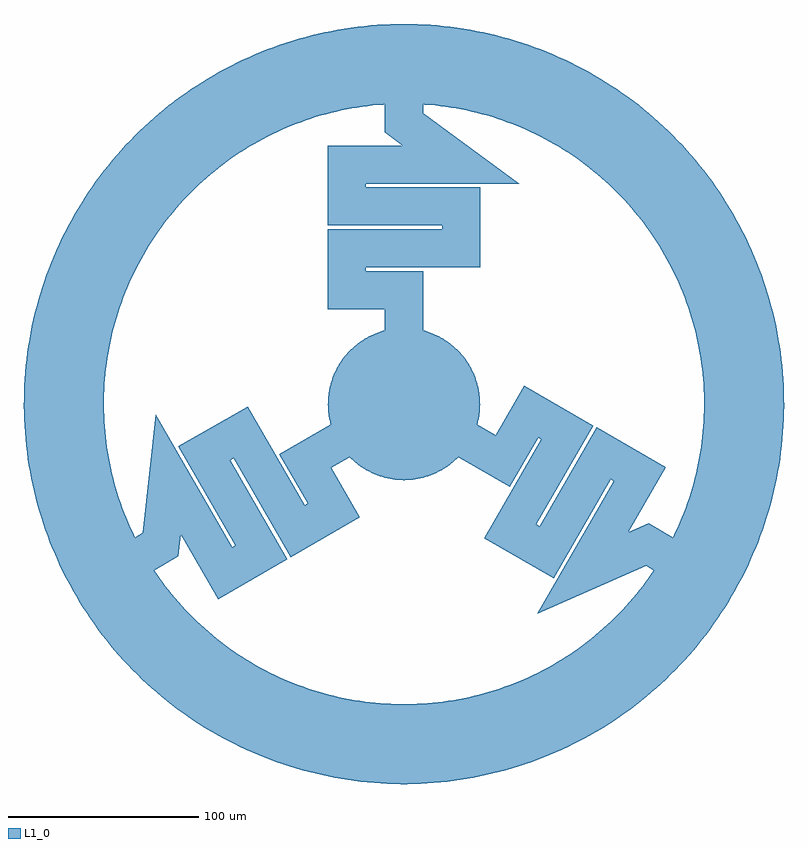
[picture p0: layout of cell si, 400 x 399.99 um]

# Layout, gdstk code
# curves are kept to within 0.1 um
import gdstk
lib = gdstk.Library(unit=1e-6, precision=1e-09)
def P(c, l, *ps):  # polygons
    for p in ps: c.add(gdstk.Polygon(p, *l))
L1_0 = (1, 0)

c_si = lib.new_cell('si')
P(c_si, L1_0, [(-0.35,-39.998),(-3.844,-39.815),(-7.997,-39.193),(-12.061,-38.138),(-15.992,-36.664),(-19.747,-34.786),(-22.712,-32.927),(-26.038,-30.365),(-28.592,-27.973),(-31.367,-24.822),(-33.416,-21.986),(-35.21,-18.981),(-37.005,-15.186),(-38.191,-11.894),(-39.227,-7.825),(-39.831,-3.67),(-39.997,0.525),(-39.798,4.019),(-39.157,8.168),(-38.085,12.227),(-36.594,16.152),(-35.042,19.289),(-32.827,22.855),(-30.704,25.637),(-27.848,28.714),(-24.685,31.475),(-21.25,33.889),(-17.58,35.93),(-14.373,37.329),(-11.055,38.442),(-6.965,39.389),(-3.496,39.847),(0.7,39.994),(4.888,39.7),(9.023,38.969),(13.058,37.809),(16.312,36.523),(20.051,34.612),(22.999,32.727),(25.771,30.592),(28.836,27.722),(31.583,24.547),(33.607,21.693),(35.696,18.05),(37.137,14.862),(38.49,10.887),(39.294,7.481),(39.798,4.019),(40,-0.175),(39.761,-4.367),(39.227,-7.825),(38.191,-11.894),(36.734,-15.831),(35.21,-18.981),(33.026,-22.567),(30.479,-25.905),(28.098,-28.469),(24.959,-31.258),(22.132,-33.319),(18.517,-35.456),(15.348,-36.938),(11.391,-38.344),(7.997,-39.193),(3.844,-39.815)],
  [(-1.75,-199.992),(-8.748,-199.809),(-19.222,-199.074),(-29.644,-197.791),(-39.983,-195.963),(-50.212,-193.594),(-60.303,-190.692),(-70.228,-187.265),(-79.959,-183.321),(-89.47,-178.872),(-98.734,-173.93),(-104.761,-170.368),(-113.558,-164.635),(-122.041,-158.448),(-130.189,-151.825),(-135.422,-147.176),(-142.96,-139.866),(-150.103,-132.17),(-156.833,-124.111),(-163.13,-115.709),(-167.08,-109.929),(-172.619,-101.009),(-177.682,-91.81),(-182.255,-82.359),(-186.327,-72.68),(-188.756,-66.115),(-191.966,-56.117),(-194.646,-45.965),(-196.79,-35.687),(-198.392,-25.31),(-199.447,-14.863),(-199.845,-7.874),(-199.983,2.625),(-199.569,13.117),(-198.606,23.573),(-197.659,30.509),(-196.471,37.407),(-194.237,47.667),(-191.467,57.795),(-188.17,67.764),(-184.355,77.546),(-181.528,83.95),(-178.479,90.252),(-173.496,99.494),(-168.035,108.463),(-164.137,114.277),(-160.037,119.951),(-153.521,128.185),(-146.582,136.065),(-139.239,143.57),(-131.512,150.68),(-123.423,157.374),(-122.61,158),(0,158),(-11.052,157.613),(-19.309,156.816),(-30.231,155.081),(-38.328,153.281),(-46.32,151.058),(-56.773,147.448),(-64.433,144.265),(-74.366,139.405),(-81.58,135.31),(-90.845,129.272),(-97.504,124.326),(-105.962,117.201),(-113.901,109.502),(-119.491,103.373),(-126.429,94.761),(-131.228,87.996),(-137.062,78.601),(-140.998,71.299),(-144.546,63.801),(-148.654,53.534),(-152.035,43.004),(-154.082,34.966),(-156.151,24.102),(-157.201,15.874),(-157.926,4.839),(-157.962,-3.456),(-157.563,-11.742),(-156.356,-22.735),(-154.383,-33.616),(-152.406,-41.672),(-150.009,-49.613),(-146.171,-59.985),(-141.617,-70.062),(-137.744,-77.398),(-131.993,-86.844),(-127.253,-93.651),(-122.163,-100.201),(-114.855,-108.501),(-106.984,-116.269),(-100.734,-121.723),(-91.973,-128.472),(-85.104,-133.122),(-75.583,-138.749),(-68.197,-142.524),(-60.624,-145.907),(-50.269,-149.79),(-42.338,-152.222),(-31.587,-154.81),(-20.68,-156.641),(-12.431,-157.51),(-4.147,-157.946),(6.911,-157.849),(15.186,-157.269),(26.149,-155.821),(34.291,-154.234),(44.996,-151.457),(55.48,-147.939),(63.168,-144.823),(73.144,-140.05),(80.393,-136.018),(87.421,-131.612),(96.413,-125.174),(104.933,-118.124),(110.987,-112.454),(116.736,-106.474),(122.163,-100.201),(125.595,-95.864),(130.453,-89.141),(133.493,-84.52),(137.744,-77.398),(140.369,-72.53),(143.982,-65.063),(147.198,-57.417),(150.009,-49.613),(152.406,-41.672),(153.771,-36.313),(155.464,-28.193),(156.73,-19.995),(157.563,-11.742),(157.878,-6.22),(157.986,2.074),(157.817,7.602),(157.201,15.874),(156.549,21.365),(155.212,29.552),(153.447,37.657),(152.035,43.004),(149.569,50.924),(147.695,56.127),(144.546,63.801),(140.998,71.299),(137.062,78.601),(132.748,85.685),(129.668,90.279),(124.751,96.959),(119.491,103.373),(113.901,109.502),(109.999,113.421),(101.796,120.837),(93.094,127.662),(88.569,130.842),(81.58,135.31),(76.795,138.082),(69.442,141.922),(59.344,146.432),(54.184,148.419),(46.32,151.058),(35.64,153.928),(27.512,155.586),(19.309,156.816),(11.052,157.613),(2.765,157.976),(-122.61,158),(-114.994,163.635),(-109.197,167.559),(-100.253,173.059),(-94.135,176.462),(-87.901,179.648),(-81.56,182.614),(-75.12,185.357),(-65.288,189.043),(-58.632,191.213),(-51.905,193.147),(-45.113,194.846),(-34.825,196.945),(-27.912,198.043),(-17.48,199.235),(-10.496,199.724),(0,200),(10.496,199.724),(17.48,199.235),(27.912,198.043),(38.267,196.305),(48.516,194.026),(58.632,191.213),(68.587,187.872),(75.12,185.357),(84.744,181.159),(94.135,176.462),(100.253,173.059),(109.197,167.559),(117.84,161.597),(126.159,155.19),(134.129,148.355),(141.73,141.112),(148.941,133.479),(153.521,128.185),(160.037,119.951),(166.111,111.387),(171.728,102.515),(176.872,93.362),(181.528,83.95),(184.355,77.546),(188.17,67.764),(191.467,57.795),(194.237,47.667),(196.471,37.407),(198.163,27.045),(198.988,20.093),(199.768,9.622),(199.998,-0.875),(199.677,-11.37),(198.805,-21.834),(197.919,-28.778),(196.136,-39.125),(193.812,-49.365),(191.966,-56.117),(188.756,-66.115),(185.026,-75.93),(180.786,-85.536),(176.048,-94.906),(172.619,-101.009),(167.08,-109.929),(161.08,-118.546),(154.637,-126.836),(147.767,-134.777),(140.49,-142.346),(132.826,-149.523),(124.796,-156.288),(119.25,-160.56),(110.659,-166.597),(101.763,-172.175),(92.587,-177.279),(83.155,-181.893),(73.495,-186.007),(63.631,-189.608),(53.593,-192.686),(43.407,-195.233),(36.547,-196.632),(26.178,-198.279),(15.735,-199.38),(8.748,-199.809)])
c_si.add(gdstk.FlexPath([(0,0),(0,60),(-30,60),(-30,82),(30,82),(30,104),(-30,104),(-30,126),(30,126),(30,126),(0,148),(0,158)], 20, ends="flush", simple_path=True, layer=1, datatype=0))  # L1_0
c_si.add(gdstk.FlexPath([(0,0),(-51.962,-30),(-36.962,-55.981),(-56.014,-66.981),(-86.014,-15.019),(-105.067,-26.019),(-75.067,-77.981),(-94.119,-88.981),(-124.119,-37.019),(-124.119,-37.019),(-128.172,-74),(-136.832,-79)], 20, ends="flush", simple_path=True, layer=1, datatype=0))  # L1_0
c_si.add(gdstk.FlexPath([(0,0),(51.962,-30),(66.962,-4.019),(86.014,-15.019),(56.014,-66.981),(75.067,-77.981),(105.067,-26.019),(124.119,-37.019),(94.119,-88.981),(94.119,-88.981),(128.172,-74),(136.832,-79)], 20, ends="flush", simple_path=True, layer=1, datatype=0))  # L1_0

lib.write_gds('si.gds')
